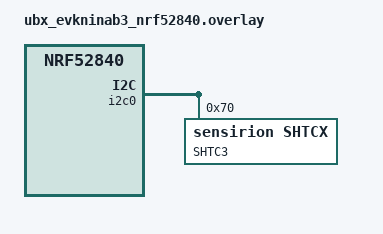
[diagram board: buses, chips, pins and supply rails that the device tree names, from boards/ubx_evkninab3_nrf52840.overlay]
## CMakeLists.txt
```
#
# Copyright (c) 2018 Peter Bigot Consulting, LLC
#
# SPDX-License-Identifier: Apache-2.0
#

cmake_minimum_required(VERSION 3.20.0)
find_package(Zephyr REQUIRED HINTS $ENV{ZEPHYR_BASE})
project(ble-node)

FILE(GLOB app_sources src/*.c)
target_sources(app PRIVATE ${app_sources})
```

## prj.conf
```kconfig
#
# Copyright (c) 2018 Peter Bigot Consulting, LLC
#
# SPDX-License-Identifier: Apache-2.0
#

CONFIG_STDOUT_CONSOLE=y
CONFIG_I2C=y
CONFIG_SENSOR=y
CONFIG_CBPRINTF_FP_SUPPORT=y

CONFIG_NCS_SAMPLES_DEFAULTS=y

CONFIG_BT=y
CONFIG_BT_PERIPHERAL=y
CONFIG_BT_DEVICE_NAME="nRF BTHome"
CONFIG_BT_DEVICE_APPEARANCE=768
CONFIG_BT_DEVICE_NAME_DYNAMIC=y
```

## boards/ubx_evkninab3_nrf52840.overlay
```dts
/*
 * Copyright (c) 2018-2019 Peter Bigot Consulting, LLC
 *
 * SPDX-License-Identifier: Apache-2.0
 */

&i2c0 {
	shtcx@70 {
		compatible = "sensirion,shtcx";
		label = "SHTC3";
		reg = <0x70>;
		chip = "shtc3";
		measure-mode = "low-power";
	};
};
```

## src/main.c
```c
#include <stdio.h>
#include <zephyr/device.h>
#include <zephyr/devicetree.h>
#include <zephyr/drivers/sensor.h>
#include <zephyr/kernel.h>

#include <zephyr/bluetooth/bluetooth.h>
#include <zephyr/bluetooth/uuid.h>

#define SERVICE_UUID 0xFCD2 // BTHome service UUID
#define IDX_TEMP_LSB 4
#define IDX_TEMP_MSB 5
#define IDX_HUM_LSB 7
#define IDX_HUM_MSB 8
#define IDX_BATTERY 10

#define ADV_PARAM                                                      \
  BT_LE_ADV_PARAM(BT_LE_ADV_OPT_USE_IDENTITY, BT_GAP_ADV_SLOW_INT_MIN, \
                  BT_GAP_ADV_SLOW_INT_MAX, NULL)

// check https://bthome.io/format/
static uint8_t service_data[] = {
    BT_UUID_16_ENCODE(SERVICE_UUID),
    0x40, // Not encrypted, regular interval, BTHome V2
    0x02, // Temperature -> sint16 little-endian with a factor 0.01 degC
    0xFF, // LSB
    0xFF, // MSB
    0x03, // Humidity -> sint16 little-endian with a factor 0.01 (percentage)
    0xFF, // LSB
    0xFF, // MSB
    0x01, // Battery -> uint8 (percentage)
    0xFF};

static uint8_t device_name[BT_ADDR_LE_STR_LEN] = {0};

static struct bt_data ad[] = {
    BT_DATA_BYTES(BT_DATA_FLAGS, BT_LE_AD_GENERAL | BT_LE_AD_NO_BREDR),
    BT_DATA(BT_DATA_NAME_COMPLETE, CONFIG_BT_DEVICE_NAME, sizeof(CONFIG_BT_DEVICE_NAME) - 1),
    BT_DATA(BT_DATA_SVC_DATA16, service_data, ARRAY_SIZE(service_data))};

static void bt_ready(int err)
{
  if (err)
  {
    printk("Bluetooth init failed (err %d)\n", err);
    return;
  }

  printk("Bluetooth initialized\n");

  /* Start advertising */
  err = bt_le_adv_start(ADV_PARAM, ad, ARRAY_SIZE(ad), NULL, 0);
  if (err)
  {
    printk("Advertising failed to start (err %d)\n", err);
    return;
  }
}

void main(void)
{
  const struct device *const dev = DEVICE_DT_GET_ANY(sensirion_shtcx);

  if (!device_is_ready(dev))
  {
    printf("Device %s is not ready\n", dev->name);
    return;
  }

  // Get MAC address and append to the device name
  char addr_s[BT_ADDR_LE_STR_LEN];
  bt_addr_le_t addr = {0};
  size_t count = 1;
  bt_id_get(&addr, &count);
  bt_addr_le_to_str(&addr, addr_s, sizeof(addr_s));

  memset(device_name, 0, sizeof(device_name));
  strncpy(device_name, CONFIG_BT_DEVICE_NAME, sizeof(CONFIG_BT_DEVICE_NAME) - 1);
  strncpy(&device_name[sizeof(CONFIG_BT_DEVICE_NAME) - 1], &addr_s[9], 8); // only last 3 bytes

  int err = bt_enable(bt_ready);
  if (err)
  {
    printk("Bluetooth init failed (err %d)\n", err);
    return;
  }

  while (true)
  {
    struct sensor_value temp, hum;

    sensor_sample_fetch(dev);
    sensor_channel_get(dev, SENSOR_CHAN_AMBIENT_TEMP, &temp);
    sensor_channel_get(dev, SENSOR_CHAN_HUMIDITY, &hum);

    float _temp = sensor_value_to_double(&temp);
    float _hum = sensor_value_to_double(&hum);

    printf("SHT3XD: %.2f Cel ; %0.2f %%RH\n", _temp, _hum);

    service_data[IDX_TEMP_LSB] = (int16_t)(_temp * 100) >> 8;
    service_data[IDX_TEMP_MSB] = (int16_t)(_temp * 100) & 0xFF;

    service_data[IDX_HUM_LSB] = (int16_t)(_hum * 100) >> 8;
    service_data[IDX_HUM_MSB] = (int16_t)(_hum * 100) & 0xFF;

    uint8_t adc_mv = 0;
    // @todo

    service_data[IDX_BATTERY] = (uint8_t)(adc_mv / 3200);

    err = bt_le_adv_update_data(ad, ARRAY_SIZE(ad), NULL, 0);
    if (err)
    {
      printk("Failed to update advertising data (err %d)\n", err);
    }

    k_sleep(K_MSEC(BT_GAP_ADV_SLOW_INT_MIN));
  }
  return;
}
```
